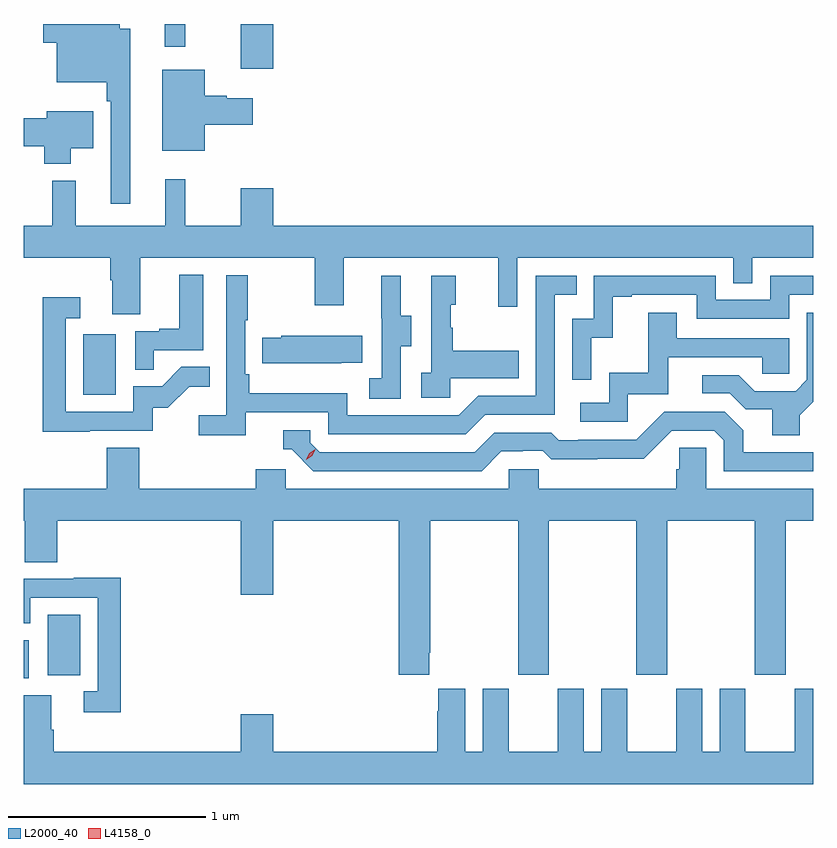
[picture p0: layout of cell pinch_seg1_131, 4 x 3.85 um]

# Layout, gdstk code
import gdstk
lib = gdstk.Library(unit=1e-6, precision=1e-09)
def R(c, l, rs):  # rectangles x0, y0, x1, y1
    for r in rs: c.add(gdstk.rectangle(r[:2], r[2:], *l))
def P(c, l, *ps):  # polygons
    for p in ps: c.add(gdstk.Polygon(p, *l))
L2000_40 = (2000, 40)
L4158_0 = (4158, 0)

pinch_seg1_131 = lib.new_cell('pinch_seg1_131')
R(pinch_seg1_131, L2000_40, [(1015.055,548.271,1015.08,548.465), (1015.178,548.286,1015.342,548.593), (1015.358,549.708,1015.522,550.015), (1016.156,551.358,1016.32,551.585), (1015.771,551.469,1015.874,551.585)])
P(pinch_seg1_131, L2000_40, [(1015.594,551.56),(1015.543,551.56),(1015.543,551.585),(1015.155,551.585),(1015.155,551.491),(1015.223,551.491),(1015.223,551.291),(1015.477,551.291),(1015.477,551.195),(1015.497,551.195),(1015.497,550.674),(1015.594,550.674)],
  [(1015.972,551.075),(1016.215,551.075),(1016.215,551.209),(1016.085,551.209),(1016.085,551.222),(1015.972,551.222),(1015.972,551.353),(1015.757,551.353),(1015.757,550.943),(1015.972,550.943)],
  [(1015.294,550.955),(1015.408,550.955),(1015.408,551.143),(1015.172,551.143),(1015.172,551.108),(1015.055,551.108),(1015.055,550.966),(1015.16,550.966),(1015.16,550.877),(1015.294,550.877)],
  [(1015.645,550.4),(1016.53,550.4),(1016.53,550.161),(1016.677,550.161),(1016.677,550.4),(1017.458,550.4),(1017.458,550.152),(1017.555,550.152),(1017.555,550.4),(1018.65,550.4),(1018.65,550.273),(1018.746,550.273),(1018.746,550.4),(1019.055,550.4),(1019.055,550.564),(1016.32,550.564),(1016.32,550.753),(1016.156,550.753),(1016.156,550.564),(1015.874,550.564),(1015.874,550.798),(1015.772,550.798),(1015.772,550.564),(1015.319,550.564),(1015.319,550.792),(1015.201,550.792),(1015.201,550.564),(1015.055,550.564),(1015.055,550.4),(1015.493,550.4),(1015.493,550.288),(1015.505,550.288),(1015.505,550.114),(1015.645,550.114)],
  [(1015.715,549.933),(1015.966,549.933),(1015.966,550.315),(1015.844,550.315),(1015.844,550.042),(1015.741,550.042),(1015.741,550.029),(1015.62,550.029),(1015.62,549.835),(1015.715,549.835)],
  [(1016.18,549.618),(1016.598,549.618),(1016.598,549.507),(1017.295,549.507),(1017.394,549.606),(1017.744,549.606),(1017.744,550.215),(1017.857,550.215),(1017.857,550.311),(1017.648,550.311),(1017.648,549.702),(1017.357,549.702),(1017.258,549.603),(1016.694,549.603),(1016.694,549.715),(1016.198,549.715),(1016.198,549.811),(1016.178,549.811),(1016.178,550.084),(1016.191,550.084),(1016.191,550.312),(1016.082,550.312),(1016.082,549.604),(1015.941,549.604),(1015.941,549.502),(1016.18,549.502)],
  [(1017.93,549.995),(1018.04,549.995),(1018.04,550.203),(1018.135,550.203),(1018.135,550.215),(1018.464,550.215),(1018.464,550.092),(1018.932,550.092),(1018.932,550.215),(1019.055,550.215),(1019.055,550.311),(1018.836,550.311),(1018.836,550.188),(1018.56,550.188),(1018.56,550.311),(1017.942,550.311),(1017.942,550.092),(1017.834,550.092),(1017.834,549.783),(1017.93,549.783)],
  [(1016.964,549.952),(1017.019,549.952),(1017.019,550.107),(1016.965,550.107),(1016.965,550.309),(1016.867,550.309),(1016.867,550.095),(1016.868,550.095),(1016.868,549.791),(1016.805,549.791),(1016.805,549.688),(1016.964,549.688)],
  [(1017.216,549.791),(1017.563,549.791),(1017.563,549.931),(1017.229,549.931),(1017.229,550.046),(1017.219,550.046),(1017.219,550.164),(1017.244,550.164),(1017.244,550.309),(1017.12,550.309),(1017.12,549.818),(1017.069,549.818),(1017.069,549.693),(1017.216,549.693)],
  [(1015.391,549.525),(1015.71,549.525),(1015.71,549.642),(1015.786,549.642),(1015.893,549.749),(1015.997,549.749),(1015.997,549.848),(1015.854,549.848),(1015.756,549.75),(1015.611,549.75),(1015.611,549.621),(1015.269,549.621),(1015.269,550.095),(1015.342,550.095),(1015.342,550.201),(1015.153,550.201),(1015.153,549.52),(1015.391,549.52)],
  [(1018.116,549.711),(1018.321,549.711),(1018.321,549.897),(1018.795,549.897),(1018.795,549.813),(1018.932,549.813),(1018.932,549.993),(1018.363,549.993),(1018.363,550.123),(1018.219,550.123),(1018.219,549.82),(1018.02,549.82),(1018.02,549.666),(1017.873,549.666),(1017.873,549.57),(1018.116,549.57)],
  [(1018.987,549.604),(1019.055,549.672),(1019.055,550.123),(1019.022,550.123),(1019.022,549.783),(1018.965,549.726),(1018.759,549.726),(1018.678,549.807),(1018.491,549.807),(1018.491,549.714),(1018.632,549.714),(1018.712,549.634),(1018.847,549.634),(1018.847,549.502),(1018.987,549.502)],
  [(1016.663,549.869),(1016.771,549.869),(1016.771,550.006),(1016.361,550.006),(1016.361,549.996),(1016.263,549.996),(1016.263,549.866),(1016.663,549.866)],
  [(1017.475,549.42),(1017.582,549.42),(1017.582,549.423),(1017.685,549.423),(1017.727,549.381),(1017.96,549.381),(1017.96,549.383),(1018.196,549.383),(1018.338,549.525),(1018.554,549.525),(1018.602,549.477),(1018.602,549.321),(1019.055,549.321),(1019.055,549.417),(1018.699,549.417),(1018.699,549.527),(1018.605,549.621),(1018.299,549.621),(1018.158,549.48),(1017.865,549.48),(1017.865,549.477),(1017.766,549.477),(1017.727,549.516),(1017.438,549.516),(1017.339,549.417),(1016.556,549.417),(1016.508,549.465),(1016.508,549.528),(1016.369,549.528),(1016.369,549.432),(1016.412,549.432),(1016.523,549.321),(1017.376,549.321)],
  [(1018.512,549.44),(1018.375,549.44),(1018.375,549.33),(1018.361,549.33),(1018.361,549.232),(1017.663,549.232),(1017.663,549.33),(1017.513,549.33),(1017.513,549.232),(1016.382,549.232),(1016.382,549.33),(1016.231,549.33),(1016.231,549.232),(1015.64,549.232),(1015.64,549.44),(1015.475,549.44),(1015.475,549.232),(1015.055,549.232),(1015.055,549.068),(1015.061,549.068),(1015.061,548.86),(1015.226,548.86),(1015.226,549.068),(1016.156,549.068),(1016.156,548.694),(1016.32,548.694),(1016.32,549.068),(1016.954,549.068),(1016.954,548.289),(1017.109,548.289),(1017.109,548.401),(1017.114,548.401),(1017.114,549.068),(1017.559,549.068),(1017.559,548.289),(1017.714,548.289),(1017.714,549.068),(1018.159,549.068),(1018.159,548.289),(1018.314,548.289),(1018.314,549.068),(1018.759,549.068),(1018.759,548.289),(1018.914,548.289),(1018.914,549.068),(1019.055,549.068),(1019.055,549.232),(1018.512,549.232)],
  [(1015.547,548.78),(1015.309,548.78),(1015.309,548.775),(1015.055,548.775),(1015.055,548.55),(1015.089,548.55),(1015.089,548.679),(1015.431,548.679),(1015.431,548.205),(1015.359,548.205),(1015.359,548.1),(1015.547,548.1)],
  [(1019.055,548.218),(1018.961,548.218),(1018.961,547.9),(1018.711,547.9),(1018.711,548.218),(1018.58,548.218),(1018.58,547.9),(1018.492,547.9),(1018.492,548.218),(1018.361,548.218),(1018.361,547.9),(1018.111,547.9),(1018.111,548.218),(1017.98,548.218),(1017.98,547.9),(1017.892,547.9),(1017.892,548.218),(1017.761,548.218),(1017.761,547.9),(1017.511,547.9),(1017.511,548.218),(1017.38,548.218),(1017.38,547.9),(1017.292,547.9),(1017.292,548.218),(1017.155,548.218),(1017.155,548.105),(1017.149,548.105),(1017.149,547.9),(1016.32,547.9),(1016.32,548.089),(1016.156,548.089),(1016.156,547.9),(1015.208,547.9),(1015.208,548.012),(1015.195,548.012),(1015.195,548.186),(1015.055,548.186),(1015.055,547.736),(1019.055,547.736)])
P(pinch_seg1_131, L4158_0, [(1016.486,549.378),(1016.486,549.379),(1016.501,549.412),(1016.531,549.432),(1016.531,549.432),(1016.531,549.431),(1016.516,549.398),(1016.486,549.378)])

lib.write_gds('pinch_seg1_131.gds')
